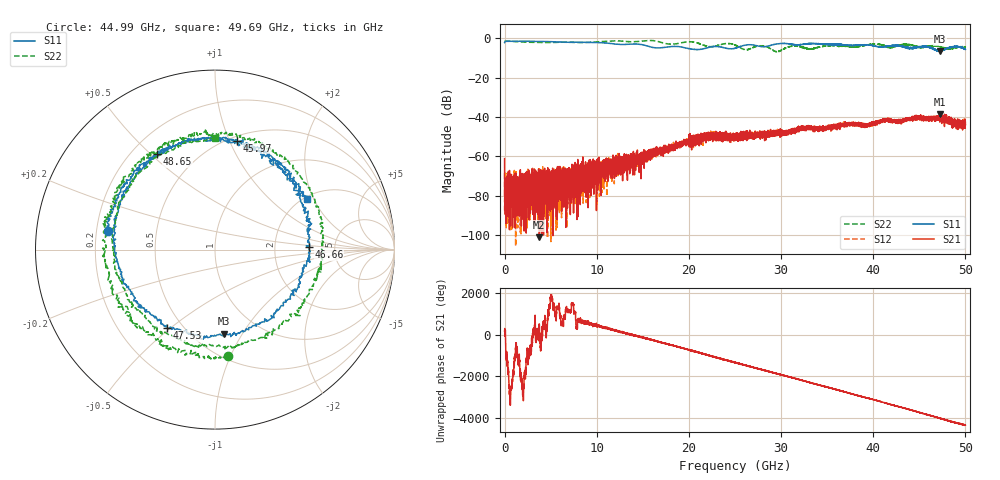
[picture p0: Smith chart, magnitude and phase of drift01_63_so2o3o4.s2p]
!Created with skrf (http://scikit-rf.org).
# Hz S RI R 50.0
!freq ReS11 ImS11 ReS21 ImS21 ReS12 ImS12 ReS22 ImS22
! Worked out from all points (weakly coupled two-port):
!   10001 points, 300 kHz to 50 GHz, reference 50 ohm
!   highest |S21| = -38.34 dB at 47.21 GHz (marker M1); lowest = -101.1 dB at 3.77 GHz (marker M2)
!   lowest |S11| = -6.5 dB at 47.26 GHz (marker M3), VSWR 2.78, Z = 34.7 - j41.7 ohm
!   |S11| at or under -10 dB: nowhere
!   |S22| runs from -6.8 to -1.0 dB; largest |S21 - S12| = 0.0036
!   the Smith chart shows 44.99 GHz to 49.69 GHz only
!   S11 on the Smith chart (normalised r, x): 44.99 GHz: 0.25, +0.08; 45.97 GHz: 0.54, +1.06; 46.66 GHz: 3.18, +0.12; 47.53 GHz: 0.41, -0.49; 48.65 GHz: 0.30, +0.52; 49.69 GHz: 2.07, +1.76
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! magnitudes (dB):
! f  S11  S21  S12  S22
! 300 kHz  -2.1  -61.1  -68.6  -1.3
! 255.3 MHz  -1.4  -69.9  -76.1  -1.4
! 385.3 MHz  -1.4  -77.5  -86.1  -1.4
! 3.77 GHz  -1.5  -101.1  -80.3  -2.0
! 6.725 GHz  -1.9  -74.3  -67.4  -1.9
! 8.335 GHz  -1.9  -69.8  -68.6  -2.1
! 16.67 GHz  -4.8  -56.5  -56.7  -1.6
! 21.82 GHz  -5.0  -49.9  -49.5  -3.7
! 25 GHz  -5.0  -51.5  -48.9  -3.4
! 29.55 GHz  -2.8  -49.1  -47.5  -6.7
! 31.29 GHz  -3.1  -47.6  -46.7  -3.9
! 33.34 GHz  -2.6  -45.6  -45.1  -5.4
! 41.67 GHz  -3.8  -41.9  -41.6  -4.4
! 44.99 GHz  -4.4  -40.5  -40.0  -4.5
! 45.97 GHz  -4.2  -41.5  -41.3  -4.2
! 46.66 GHz  -5.6  -40.6  -39.8  -3.8
! 47.21 GHz  -6.5  -38.3  -39.7  -4.2
! 47.26 GHz  -6.5  -39.9  -41.4  -4.1
! 47.53 GHz  -5.8  -39.8  -40.3  -4.7
! 48.65 GHz  -4.1  -42.3  -42.0  -5.2
! 49.69 GHz  -4.7  -43.2  -42.6  -4.2
! 50 GHz  -5.6  -44.0  -42.9  -4.2
